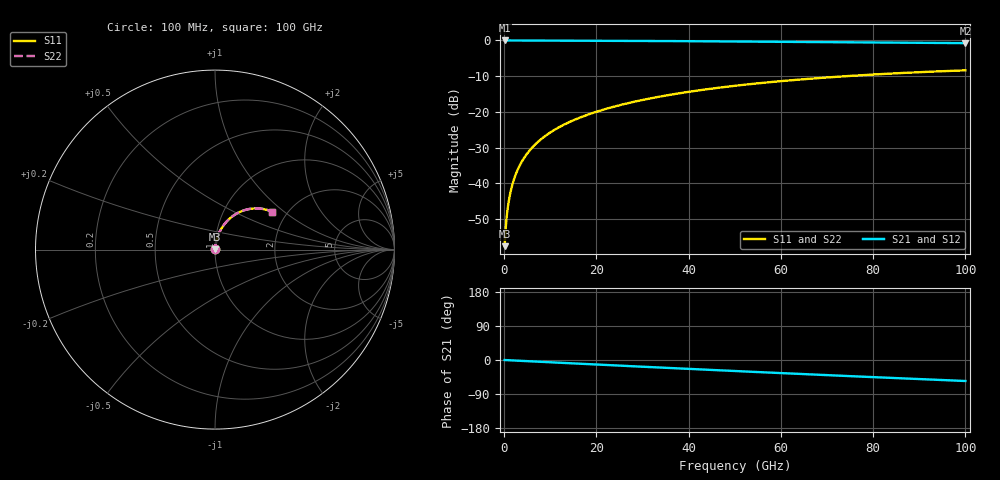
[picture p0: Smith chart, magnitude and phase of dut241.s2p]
! Touchstone file exported from HFSS 2026.1.0
!  File:  C:/ffzhzh/LocalFiles/Ansys_Project_Files/temp_train_RDL_241_1783501335_44152.aedt
!  Generated:  05:03:20 PM Jul  8, 2026
!  Design:  RDL
!  Project:  temp_train_RDL_241_1783501335_44152
! Variables:
!  h_bsmrdl = 2um
!  h_ox = 20um
!  h_rdl = 5um
!  h_sub = 80um
!  h_tmrdl = 2.66um
!  h_tsv = 80um
!  h_via = 3um
!  l_bsmrdl = 300um
!  l_sub = 555.28um
!  l_tmrdl = 155.28um
!  m_sub = 200um
!  pitch = 40.71um
!  r_tsv = 6um
!  s_tmrdl = 10um
!  w_bsmrdl = 18um
!  w_sub = 500um
!  w_tmrdl = 24.47um
!  x_tsv_center1 = 167.515um
!  x_tsv_center2 = 485.515um
!  x_tsv_center3 = 665.265um
!  x_tsv_center4 = 983.265um
!  x_tsv_center5 = 1163.015um
!  x_tsv_center6 = 1481.015um
# GHz S MA R 50.000000
! Terminal data exported
! Port[1] = TM_RDL1_1_T1
! Port[2] = TM_RDL1_1_T2
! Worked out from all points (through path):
!   1000 points, 100 MHz to 100 GHz, reference 50 ohm
!   highest |S21| = -0.01 dB at 100 MHz (marker M1); lowest = -0.8 dB at 100 GHz (marker M2)
!   group delay of S21, straight-line fit = 1.54 ps
!   lowest |S11| = -57.6 dB at 100 MHz (marker M3), VSWR 1.00, Z = 50.1 + j0.0611 ohm
!   |S11| at or under -10 dB: start of sweep to 74.23 GHz
!   |S22| runs from -57.6 to -8.4 dB; largest |S21 - S12| = 3.5e-15
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0.1  0.001318 27.5  0.9988 -0.1  0.9988 -0.1  0.001318 27.5
! Gamma 0 0 0 0
! Port Impedance 50 0 50 0
0.4  0.002667 59.9  0.9987 -0.3  0.9987 -0.3  0.002667 59.9
0.7  0.004139 69.0  0.9985 -0.4  0.9985 -0.4  0.004139 69.0
0.9  0.005126 72.4  0.9985 -0.6  0.9985 -0.6  0.005126 72.4
1.2  0.006625 75.7  0.9984 -0.7  0.9984 -0.7  0.006625 75.7
1.6  0.008651 78.4  0.9984 -1.0  0.9984 -1.0  0.008651 78.4
2.1  0.01121 80.3  0.9983 -1.3  0.9983 -1.3  0.01121 80.3
2.7  0.01429 81.5  0.9982 -1.6  0.9982 -1.6  0.01429 81.5
3.4  0.0179 82.2  0.9981 -2.1  0.9981 -2.1  0.0179 82.2
4.3  0.02253 82.6  0.9979 -2.6  0.9979 -2.6  0.02253 82.6
5.3  0.02766 82.6  0.9976 -3.2  0.9976 -3.2  0.02766 82.6
6.4  0.03328 82.4  0.9973 -3.9  0.9973 -3.9  0.03328 82.4
9.2  0.04746 81.3  0.9963 -5.6  0.9963 -5.6  0.04746 81.3
12.6  0.06439 79.6  0.9947 -7.6  0.9947 -7.6  0.06439 79.6
16.8  0.0849 77.4  0.9926 -10.1  0.9926 -10.1  0.0849 77.4
24.2  0.1201 73.4  0.9881 -14.4  0.9881 -14.4  0.1201 73.4
33.4  0.162 68.4  0.9813 -19.7  0.9813 -19.7  0.162 68.4
41.2  0.1958 64.1  0.9746 -24.1  0.9746 -24.1  0.1958 64.1
50.1  0.232 59.3  0.9662 -29.1  0.9662 -29.1  0.232 59.3
66.7  0.2923 50.4  0.9491 -38.2  0.9491 -38.2  0.2923 50.5
83.4  0.3424 41.8  0.9319 -47.0  0.9319 -47.0  0.3424 41.8
100  0.3814 33.5  0.9164 -55.4  0.9164 -55.4  0.3814 33.5
